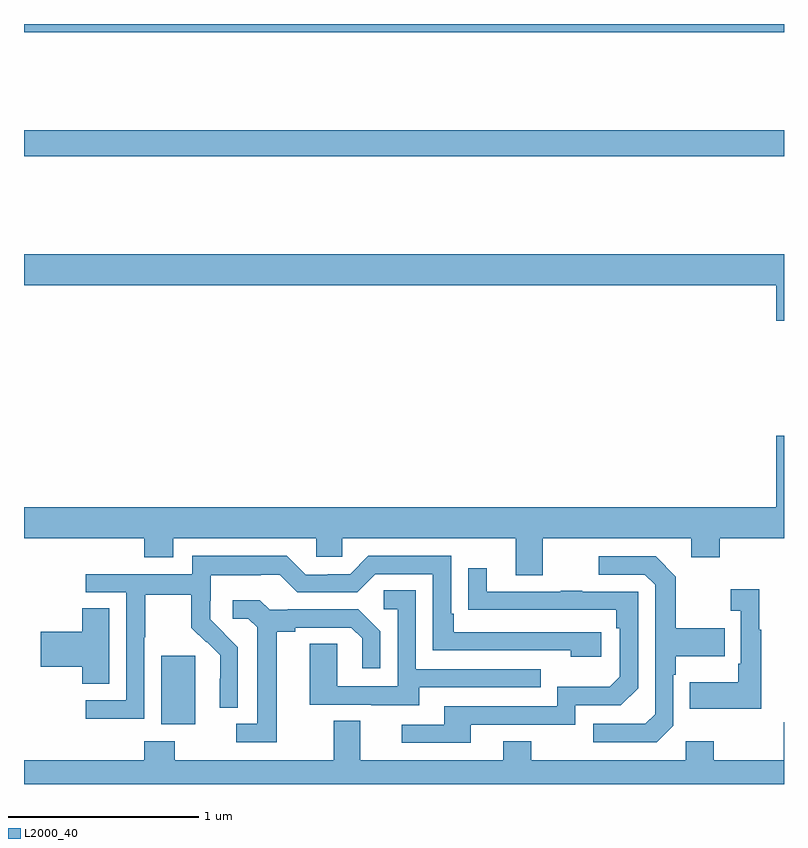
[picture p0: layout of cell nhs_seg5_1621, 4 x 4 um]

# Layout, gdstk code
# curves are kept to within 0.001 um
import gdstk
lib = gdstk.Library(unit=1e-6, precision=1e-09)
def R(c, l, rs):  # rectangles x0, y0, x1, y1
    for r in rs: c.add(gdstk.rectangle(r[:2], r[2:], *l))
def P(c, l, *ps):  # polygons
    for p in ps: c.add(gdstk.Polygon(p, *l))
L2000_40 = (2000, 40)

nhs_seg5_1621 = lib.new_cell('nhs_seg5_1621')
R(nhs_seg5_1621, L2000_40, [(209.723,857.114,209.902,857.475), (209,860.104,213,860.24), (209,860.756,213,860.799)])
P(nhs_seg5_1621, L2000_40, [(213,859.588),(209,859.588),(209,859.424),(212.96,859.424),(212.96,859.236),(213,859.236)],
  [(211.729,858.092),(212.513,858.092),(212.513,857.993),(212.661,857.993),(212.661,858.092),(213,858.092),(213,858.631),(212.96,858.631),(212.96,858.256),(209,858.256),(209,858.092),(209.633,858.092),(209.633,857.993),(209.785,857.993),(209.785,858.092),(210.537,858.092),(210.537,857.994),(210.675,857.994),(210.675,858.092),(211.589,858.092),(211.589,857.898),(211.729,857.898)],
  [(209.634,857.572),(209.637,857.572),(209.637,857.796),(209.881,857.796),(209.881,857.621),(209.958,857.544),(209.961,857.547),(210.032,857.477),(210.032,857.354),(210.03,857.354),(210.03,857.2),(210.126,857.2),(210.126,857.518),(209.98,857.666),(209.98,857.763),(209.982,857.763),(209.982,857.897),(210.245,857.897),(210.245,857.901),(210.345,857.901),(210.438,857.808),(210.753,857.808),(210.849,857.904),(211.152,857.904),(211.152,857.502),(211.877,857.502),(211.877,857.468),(212.038,857.468),(212.038,857.598),(211.261,857.598),(211.261,857.695),(211.248,857.695),(211.248,858),(210.813,858),(210.717,857.904),(210.599,857.904),(210.599,857.901),(210.483,857.901),(210.383,858.001),(209.886,858.001),(209.886,857.904),(209.325,857.904),(209.325,857.808),(209.538,857.808),(209.538,857.241),(209.325,857.241),(209.325,857.143),(209.634,857.143)],
  [(212.418,857.106),(212.418,857.375),(212.431,857.375),(212.431,857.471),(212.687,857.471),(212.687,857.619),(212.431,857.619),(212.431,857.891),(212.325,857.997),(212.025,857.997),(212.025,857.901),(212.268,857.901),(212.322,857.847),(212.322,857.166),(212.271,857.115),(211.995,857.115),(211.995,857.019),(212.331,857.019)],
  [(211.351,857.112),(211.902,857.112),(211.902,857.214),(212.142,857.214),(212.232,857.304),(212.232,857.811),(211.937,857.811),(211.937,857.816),(211.825,857.816),(211.825,857.811),(211.435,857.811),(211.435,857.935),(211.339,857.935),(211.339,857.716),(212.116,857.715),(212.116,857.618),(212.136,857.618),(212.136,857.364),(212.083,857.311),(211.806,857.311),(211.806,857.208),(211.211,857.208),(211.211,857.112),(210.987,857.112),(210.987,857.016),(211.351,857.016)],
  [(212.881,857.611),(212.869,857.611),(212.869,857.824),(212.721,857.824),(212.721,857.711),(212.772,857.711),(212.772,857.431),(212.76,857.431),(212.76,857.335),(212.503,857.335),(212.503,857.195),(212.881,857.195)],
  [(211.081,857.307),(211.721,857.307),(211.721,857.403),(211.062,857.403),(211.062,857.819),(210.894,857.819),(210.894,857.718),(210.966,857.718),(210.966,857.313),(210.648,857.313),(210.648,857.537),(210.503,857.537),(210.503,857.217),(210.827,857.217),(210.827,857.213),(211.081,857.213)],
  [(210.331,857.6),(210.427,857.6),(210.427,857.622),(210.722,857.622),(210.779,857.565),(210.779,857.409),(210.876,857.409),(210.876,857.602),(210.76,857.718),(210.388,857.718),(210.388,857.715),(210.294,857.715),(210.242,857.767),(210.099,857.767),(210.099,857.67),(210.18,857.67),(210.227,857.623),(210.227,857.115),(210.117,857.115),(210.117,857.019),(210.331,857.019)],
  [(209.449,857.723),(209.306,857.723),(209.306,857.6),(209.088,857.6),(209.088,857.417),(209.306,857.417),(209.306,857.326),(209.449,857.326)],
  [(213,857.123),(212.998,857.123),(212.998,856.924),(212.631,856.924),(212.631,857.023),(212.484,857.023),(212.484,856.924),(211.671,856.924),(211.671,857.023),(211.523,857.023),(211.523,856.924),(210.769,856.924),(210.769,857.132),(210.629,857.132),(210.629,856.924),(209.793,856.924),(209.793,857.023),(209.633,857.023),(209.633,856.924),(209,856.924),(209,856.799),(213,856.799)])

lib.write_gds('nhs_seg5_1621.gds')
